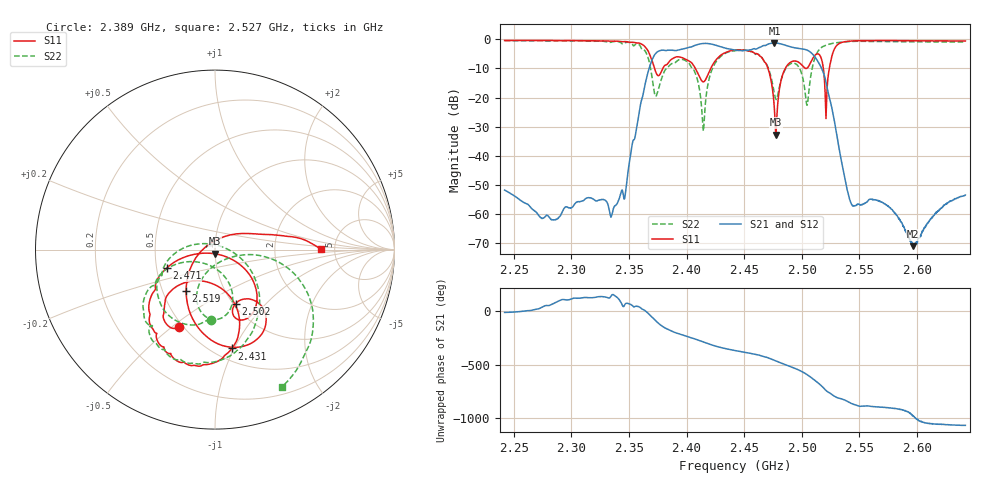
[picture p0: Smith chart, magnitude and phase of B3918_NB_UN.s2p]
! Matrix data file written by TouchstoneData, EPCOS AG
! FILENAME: "B3918.PCB3.NB.snp"
! COMMENT: "(TS/B3918.PCB3.NB.s2p)"
! INFO: nport=2, nfreq=1601
! DATE: "Fri Dec  6 11:18:46 2013"
! USER: "Dan Wang"
! port | pin | signal
!  1  |  2  |  Input
!  2  |  5  |  Output
# MHZ S RI R 50
! freq  reS11 imS11  reS21 imS21  reS12 imS12  reS22 imS22
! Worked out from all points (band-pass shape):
!   1601 points, 2.242 GHz to 2.642 GHz, reference 50 ohm
!   highest |S21| = -1.30 dB at 2.476 GHz (marker M1); lowest = -71.0 dB at 2.596 GHz (marker M2)
!   |S21| within 3 dB of the highest: 2.375 GHz to 2.507 GHz (132.3 MHz wide, 5.42 % of centre)
!   lowest |S11| = -32.7 dB at 2.478 GHz (marker M3), VSWR 1.05, Z = 49.7 - j2.3 ohm
!   |S11| at or under -10 dB: 2.372147 GHz to 2.379369 GHz (7.222 MHz wide, 0.304 % of centre); 2.408 GHz to 2.421 GHz (13.37 MHz wide, 0.554 % of centre); 2.471 GHz to 2.486 GHz (15.08 MHz wide, 0.608 % of centre) (the widest 3 of 5)
!   |S22| runs from -31.6 to -0.5 dB; largest |S21 - S12| = 0
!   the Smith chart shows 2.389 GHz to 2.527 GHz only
!   S11 on the Smith chart (normalised r, x): 2.389 GHz: 0.47, -0.53; 2.431 GHz: 0.61, -0.98; 2.471 GHz: 0.57, -0.13; 2.502 GHz: 1.02, -0.69; 2.519 GHz: 0.66, -0.33; 2.527 GHz: 3.86, +0.03
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2242  -0.2681 -0.9121  0.00253 -0.000529  0.00253 -0.000529  -0.7112 -0.623
2308.75  -0.4225 -0.8413  -0.000932 0.00139  -0.000932 0.00139  -0.8711 -0.3438
2346  -0.6231 -0.6651  0.00107 0.00147  0.00107 0.00147  -0.8426 0.1597
2361.25  -0.7391 -0.3446  0.0891 0.033  0.0891 0.033  -0.2545 0.6215
2375.5  -0.1814 -0.1523  -0.2393 -0.5736  -0.2393 -0.5736  0.126 0.0564
2389  -0.201 -0.4336  -0.6183 0.1736  -0.6183 0.1736  -0.0246 -0.39
2406.25  -0.2543 -0.2398  -0.1926 0.7458  -0.1926 0.7458  -0.2824 -0.0906
2414.5  -0.044 -0.1803  0.2504 0.8076  0.2504 0.8076  0.00643 0.0256
2431.25  0.095 -0.5505  0.6949 0.2088  0.6949 0.2088  0.1754 -0.5052
2442  -0.0726 -0.6458  0.641 -0.0864  0.641 -0.0864  -0.0671 -0.6304
2471.25  -0.2694 -0.103  0.1811 -0.8108  0.1811 -0.8108  -0.2833 -0.1189
2476.25  -0.0583 -0.0197  -0.1305 -0.8506  -0.1305 -0.8506  -0.0921 -0.0699
2477.5  -0.00205 -0.0231  -0.2108 -0.833  -0.2108 -0.833  -0.0448 -0.0818
2486.5  0.233 -0.2437  -0.6195 -0.4726  -0.6195 -0.4726  0.0931 -0.3098
2502.5  0.1143 -0.3019  -0.5264 0.4137  -0.5264 0.4137  -0.05 -0.1313
2508.75  0.2759 -0.3434  -0.0587 0.5676  -0.0587 0.5676  0.2984 -0.0459
2519  -0.1614 -0.2317  0.257 0.0116  0.257 0.0116  0.5097 -0.5632
2527  0.5881 0.00228  0.0227 -0.0488  0.0227 -0.0488  0.3757 -0.7635
2543.25  0.5927 -0.7203  -0.00116 -0.000891  -0.00116 -0.000891  0.1352 -0.9063
2575.5  0.2916 -0.9023  -0.00134 3.13e-05  -0.00134 3.13e-05  -0.1239 -0.9021
2596.25  0.1944 -0.9177  -8.69e-05 0.000268  -8.69e-05 0.000268  -0.1984 -0.88
2642  0.0746 -0.931  0.00206 0.000528  0.00206 0.000528  -0.3022 -0.8453
